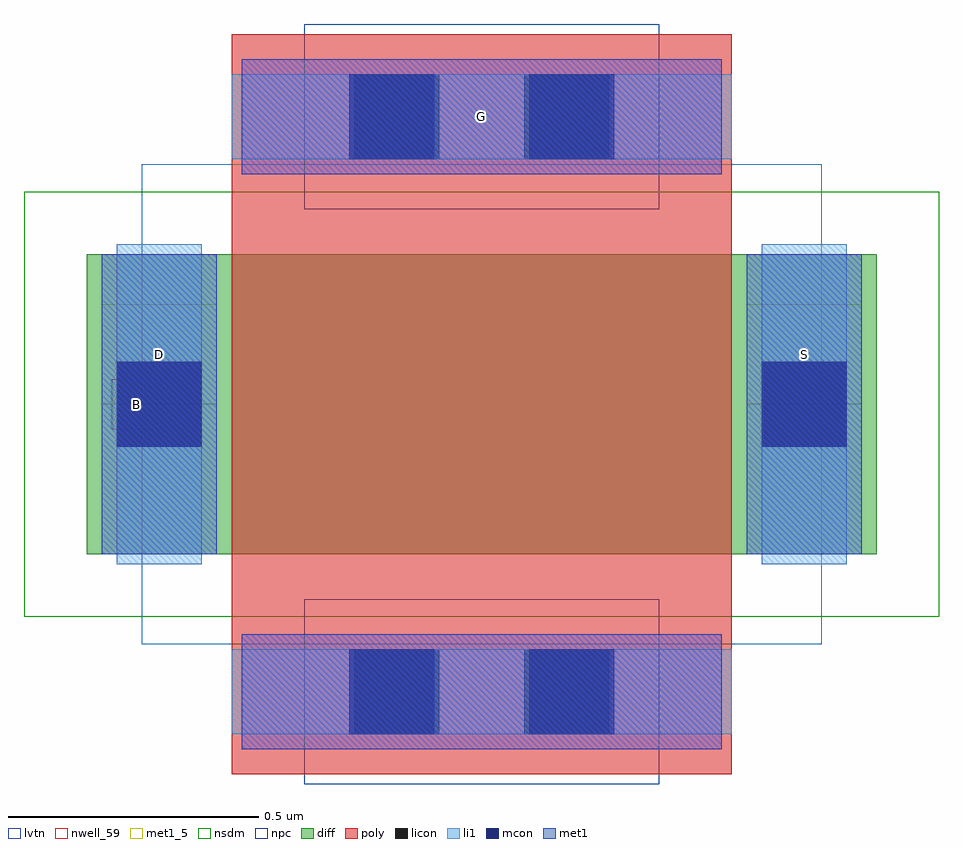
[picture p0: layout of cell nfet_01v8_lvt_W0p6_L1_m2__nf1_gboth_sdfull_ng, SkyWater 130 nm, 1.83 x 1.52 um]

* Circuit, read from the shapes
.subckt nfet_01v8_lvt_W0p6_L1_m2__nf1_gboth_sdfull_ng B D G S
XM1 S G D B sky130_fd_pr__nfet_01v8_lvt w=0.6 l=1
.ends

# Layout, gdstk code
import gdstk
lib = gdstk.Library(unit=1e-6, precision=1e-09)
def R(c, l, rs):  # rectangles x0, y0, x1, y1
    for r in rs: c.add(gdstk.rectangle(r[:2], r[2:], *l))
nwell_59 = (64, 59)
diff = (65, 20)
poly = (66, 20)
licon = (66, 44)
li1 = (67, 20)
mcon = (67, 44)
met1_5 = (68, 5)
met1 = (68, 20)
nsdm = (93, 44)
npc = (95, 20)
lvtn = (125, 44)

sky130_fd_pr__nfet_01v8_ = lib.new_cell('sky130_fd_pr__nfet_01v8_lvt_CPBDVF')
R(sky130_fd_pr__nfet_01v8_, diff, [(-0.79,-0.3,0.79,0.3)])
R(sky130_fd_pr__nfet_01v8_, poly, [(-0.5,-0.74,0.5,0.74)])
R(sky130_fd_pr__nfet_01v8_, licon, [(-0.255,-0.66,-0.085,-0.49), (0.085,-0.66,0.255,-0.49), (-0.73,-0.085,-0.56,0.085), (0.56,-0.085,0.73,0.085), (-0.255,0.49,-0.085,0.66), (0.085,0.49,0.255,0.66)])
R(sky130_fd_pr__nfet_01v8_, li1, [(-0.5,-0.66,0.5,-0.49), (-0.73,-0.32,-0.56,0.32), (0.56,-0.32,0.73,0.32), (-0.5,0.49,0.5,0.66)])
R(sky130_fd_pr__nfet_01v8_, mcon, [(-0.265,-0.66,-0.095,-0.49), (0.095,-0.66,0.265,-0.49), (-0.73,-0.085,-0.56,0.085), (0.56,-0.085,0.73,0.085), (-0.265,0.49,-0.095,0.66), (0.095,0.49,0.265,0.66)])
R(sky130_fd_pr__nfet_01v8_, met1, [(-0.48,-0.69,0.48,-0.46), (-0.76,-0.3,-0.53,0.3), (0.53,-0.3,0.76,0.3), (-0.48,0.46,0.48,0.69)])
R(sky130_fd_pr__nfet_01v8_, nsdm, [(-0.915,-0.425,0.915,0.425)])
R(sky130_fd_pr__nfet_01v8_, npc, [(-0.355,-0.76,0.355,-0.39), (-0.355,0.39,0.355,0.76)])
R(sky130_fd_pr__nfet_01v8_, lvtn, [(-0.68,-0.48,0.68,0.48)])
sky130_fd_pr__nfet_01v8_.add(gdstk.Label('D', (-0.645,0), layer=67, texttype=5))
sky130_fd_pr__nfet_01v8_.add(gdstk.Label('S', (0.645,0), layer=67, texttype=5))
sky130_fd_pr__nfet_01v8_.add(gdstk.Label('G', (0,0.575), layer=67, texttype=5))

nfet_01v8_lvt_w0p6_l1_m2 = lib.new_cell('nfet_01v8_lvt_W0p6_L1_m2__nf1_gboth_sdfull_ng')
R(nfet_01v8_lvt_w0p6_l1_m2, nwell_59, [(0.05,0.69,0.15,0.79)])
R(nfet_01v8_lvt_w0p6_l1_m2, met1_5, [(0.03,0.74,0.26,0.94), (1.32,0.74,1.55,0.94), (0.31,1.2,1.27,1.43)])
R(nfet_01v8_lvt_w0p6_l1_m2, met1, [(0.03,0.74,0.26,0.94), (1.32,0.74,1.55,0.94), (0.31,1.2,1.27,1.43)])
nfet_01v8_lvt_w0p6_l1_m2.add(gdstk.Reference(sky130_fd_pr__nfet_01v8_, (0.79,0.74)))
nfet_01v8_lvt_w0p6_l1_m2.add(gdstk.Label('D', (0.145,0.84), layer=68, texttype=5))
nfet_01v8_lvt_w0p6_l1_m2.add(gdstk.Label('S', (1.435,0.84), layer=68, texttype=5))
nfet_01v8_lvt_w0p6_l1_m2.add(gdstk.Label('G', (0.79,1.315), layer=68, texttype=5))
nfet_01v8_lvt_w0p6_l1_m2.add(gdstk.Label('B', (0.1,0.74), layer=64, texttype=59))

lib.write_gds('nfet_01v8_lvt_W0p6_L1_m2__nf1_gboth_sdfull_ng.gds')
